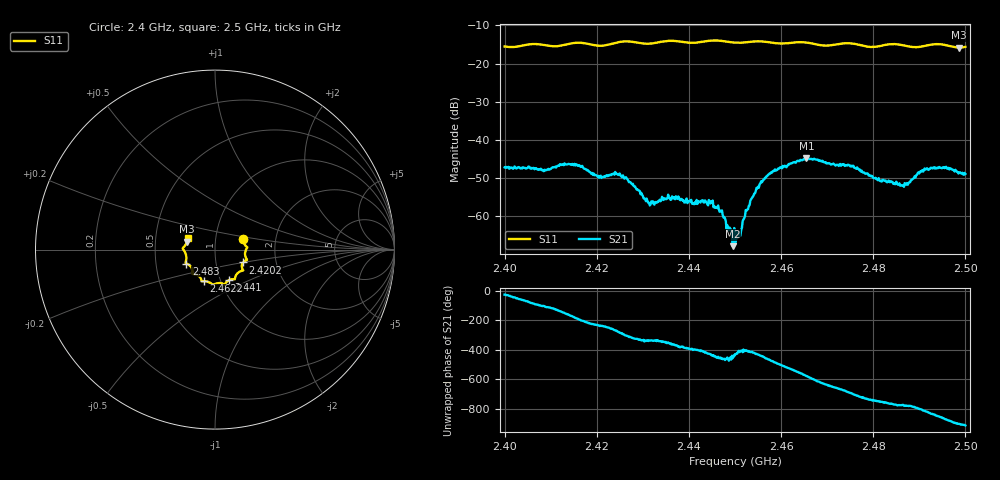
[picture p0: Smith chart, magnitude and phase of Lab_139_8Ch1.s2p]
# Hz S RI R 50
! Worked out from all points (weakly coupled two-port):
!   601 points, 2.4 GHz to 2.5 GHz, reference 50 ohm
!   highest |S21| = -44.79 dB at 2.4655 GHz (marker M1); lowest = -67.8 dB at 2.4495 GHz (marker M2)
!   lowest |S11| = -15.8 dB at 2.4987 GHz (marker M3), VSWR 1.39, Z = 36.4 + j3.29 ohm
!   |S11| at or under -10 dB: start of sweep to end of sweep
!   S12 and S22 are empty: the file has one direction only
!   S11 on the Smith chart (normalised r, x): 2.4 GHz: 1.36, +0.17; 2.4202 GHz: 1.35, -0.20; 2.441 GHz: 1.09, -0.39; 2.4622 GHz: 0.83, -0.30; 2.483 GHz: 0.72, -0.12; 2.5 GHz: 0.73, +0.09
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2.4e9  0.1563 0.0605  0.00396 -0.00184  0 0  0 0
2.416667e9  0.1776 -0.0583  -0.00421 0.0016  0 0  0 0
2.420167e9  0.1561 -0.0717  -0.00207 0.00258  0 0  0 0
2.4245e9  0.1544 -0.1106  0.000346 0.00356  0 0  0 0
2.431167e9  0.124 -0.1333  0.00142 0.000506  0 0  0 0
2.433333e9  0.1128 -0.1523  0.00141 0.000611  0 0  0 0
2.441e9  0.0768 -0.1707  0.00112 -0.000922  0 0  0 0
2.444833e9  0.0545 -0.1925  0.000382 -0.00153  0 0  0 0
2.446833e9  0.0493 -0.1929  -4.66e-05 -0.00118  0 0  0 0
2.4495e9  0.0315 -0.1865  -5.12e-05 -0.000402  0 0  0 0
2.45e9  0.0266 -0.1863  0.000151 -0.000401  0 0  0 0
2.451e9  0.0168 -0.1867  0.000308 -0.000451  0 0  0 0
2.455167e9  -0.0107 -0.1953  0.000635 -0.00228  0 0  0 0
2.462167e9  -0.0633 -0.1762  -0.00488 -0.000695  0 0  0 0
2.4655e9  -0.0746 -0.173  -0.00449 0.00362  0 0  0 0
2.466667e9  -0.0765 -0.1669  -0.00309 0.00469  0 0  0 0
2.483e9  -0.1592 -0.078  0.00207 -0.00187  0 0  0 0
2.483333e9  -0.1608 -0.0773  0.0021 -0.00204  0 0  0 0
2.486667e9  -0.1611 -0.0625  0.00123 -0.00209  0 0  0 0
2.492833e9  -0.178 0.0025  -0.00183 -0.00382  0 0  0 0
2.498667e9  -0.156 0.044  -0.00375 0.000225  0 0  0 0
2.5e9  -0.1532 0.0627  -0.00349 0.000879  0 0  0 0
